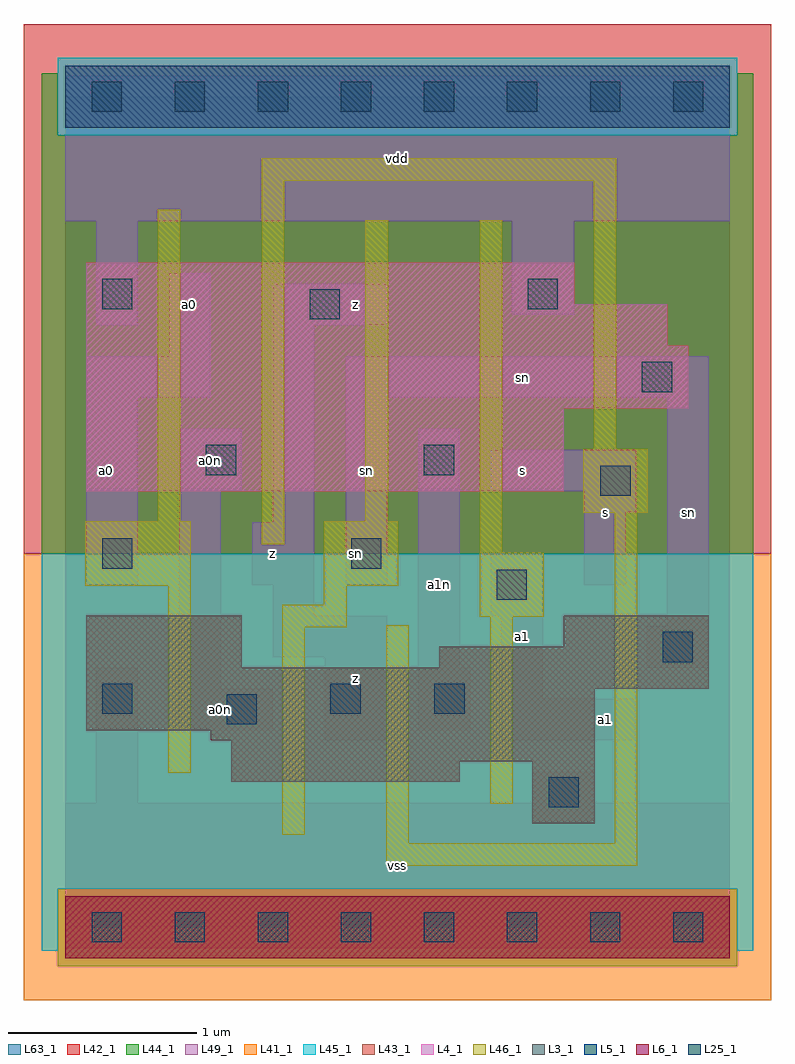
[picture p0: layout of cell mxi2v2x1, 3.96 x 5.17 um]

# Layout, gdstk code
import gdstk
lib = gdstk.Library(unit=1e-6, precision=1e-09)
def R(c, l, rs):  # rectangles x0, y0, x1, y1
    for r in rs: c.add(gdstk.rectangle(r[:2], r[2:], *l))
def A(c, l, x, y, w, h, nx, ny, dx, dy):  # array of equal rectangles
    R(c, l, [(x+i*dx, y+j*dy, x+i*dx+w, y+j*dy+h) for i in range(nx) for j in range(ny)])
L3_1 = (3, 1)
L4_1 = (4, 1)
L5_1 = (5, 1)
L6_1 = (6, 1)
L25_1 = (25, 1)
L41_1 = (41, 1)
L42_1 = (42, 1)
L43_1 = (43, 1)
L44_1 = (44, 1)
L45_1 = (45, 1)
L46_1 = (46, 1)
L49_1 = (49, 1)
L63_1 = (63, 1)

mxi2v2x1 = lib.new_cell('mxi2v2x1')
R(mxi2v2x1, L3_1, [(2.475,0.55,2.805,0.88), (0.88,0.77,2.09,0.88), (0.88,0.88,2.805,0.99), (0.77,0.99,2.805,1.045), (0.11,1.045,2.805,1.265), (0.11,1.265,3.41,1.375), (0.11,1.375,0.935,1.65), (1.98,1.375,3.41,1.485), (2.64,1.485,3.41,1.65)])
R(mxi2v2x1, L4_1, [(0.11,2.31,2.64,2.75), (0.11,2.75,3.3,3.08), (0.11,3.08,3.19,3.3), (0.11,3.3,2.695,3.52)])
R(mxi2v2x1, L5_1, [(0,4.235,3.52,4.565)])
R(mxi2v2x1, L6_1, [(0,-0.165,3.52,0.165)])
A(mxi2v2x1, L25_1, 0.14, -0.08, 0.16, 0.16, 8, 2, 0.44, 4.4)
R(mxi2v2x1, L25_1, [(2.56,0.635,2.72,0.795), (0.855,1.075,1.015,1.235), (0.195,1.13,0.355,1.29), (1.405,1.13,1.565,1.29), (1.955,1.13,2.115,1.29), (3.165,1.405,3.325,1.565), (2.285,1.735,2.445,1.895), (0.195,1.9,0.355,2.06), (1.515,1.9,1.675,2.06), (2.835,2.285,2.995,2.445), (0.745,2.395,0.905,2.555), (1.9,2.395,2.06,2.555), (3.055,2.835,3.215,2.995), (1.295,3.22,1.455,3.38), (0.195,3.275,0.355,3.435), (2.45,3.275,2.61,3.435)])
R(mxi2v2x1, L41_1, [(-0.22,-0.385,3.74,1.98)])
R(mxi2v2x1, L42_1, [(-0.22,1.98,3.74,4.785)])
R(mxi2v2x1, L43_1, [(0,-0.165,3.52,0.165), (2.475,0.55,2.805,0.88), (0.88,0.77,2.09,0.88), (0.88,0.88,2.805,0.99), (0.77,0.99,2.805,1.045), (0.11,1.045,2.805,1.265), (0.11,1.265,3.41,1.375), (0.11,1.375,0.935,1.65), (1.98,1.375,3.41,1.485), (2.64,1.485,3.41,1.65), (0.11,2.31,2.64,2.75), (0.11,2.75,3.3,3.08), (0.11,3.08,3.19,3.3), (0.11,3.3,2.695,3.52), (0,4.235,3.52,4.565)])
R(mxi2v2x1, L44_1, [(-0.04,-0.205,3.56,0.205), (-0.125,1.98,3.645,4.195), (-0.125,4.195,-0.04,4.525), (3.56,4.195,3.645,4.525)])
R(mxi2v2x1, L45_1, [(-0.125,-0.125,-0.04,0.205), (3.56,-0.125,3.645,0.205), (-0.125,0.205,3.645,1.98), (-0.04,4.195,3.56,4.605)])
R(mxi2v2x1, L46_1, [(1.7,0.325,3.03,0.445), (1.7,0.445,1.82,1.6), (2.91,0.445,3.03,2.195), (1.15,0.49,1.27,1.59), (2.25,0.655,2.37,1.645), (0.545,0.82,0.665,1.81), (1.15,1.59,1.49,1.71), (2.195,1.645,2.535,1.985), (1.37,1.71,1.49,1.81), (0.105,1.81,0.665,2.15), (1.37,1.81,1.765,2.15), (2.195,1.985,2.315,3.745), (1.04,2.03,1.16,3.955), (0.49,2.15,0.61,3.8), (1.59,2.15,1.71,3.745), (2.745,2.195,3.085,2.535), (2.8,2.535,2.92,3.955), (1.04,3.955,2.92,4.075)])
R(mxi2v2x1, L49_1, [(0,-0.11,3.52,0.66), (0.165,0.66,0.385,1.375), (2.475,0.66,2.805,0.825), (1.375,0.99,1.705,1.43), (2.31,0.99,3.025,1.21), (0.605,1.045,1.1,1.265), (1.87,1.045,2.145,1.375), (2.31,1.21,2.53,1.65), (0.605,1.265,0.825,2.31), (1.87,1.375,2.09,2.64), (3.08,1.375,3.41,1.595), (1.1,1.43,1.705,1.65), (3.19,1.595,3.41,2.805), (1.1,1.65,1.32,1.815), (2.255,1.65,2.53,1.98), (0.11,1.815,0.385,2.805), (0.99,1.815,1.32,2.145), (1.485,1.815,1.705,2.805), (2.75,1.815,2.97,2.2), (1.1,2.145,1.32,3.19), (2.75,2.2,3.025,2.31), (0.605,2.31,0.935,2.64), (2.255,2.31,3.025,2.53), (0.11,2.805,0.77,3.025), (1.485,2.805,3.41,3.025), (0.55,3.025,0.77,3.465), (0.165,3.19,0.385,3.74), (1.1,3.19,1.705,3.41), (2.365,3.245,2.695,3.74), (0,3.74,3.52,4.51)])
R(mxi2v2x1, L63_1, [(0,0,3.52,4.4)])
mxi2v2x1.add(gdstk.Label('sn', (1.54,1.98), layer=49, texttype=1))
mxi2v2x1.add(gdstk.Label('a0', (0.22,2.42), layer=49, texttype=1))
mxi2v2x1.add(gdstk.Label('a0n', (0.825,1.155), layer=49, texttype=1))
mxi2v2x1.add(gdstk.Label('z', (1.1,1.98), layer=49, texttype=1))
mxi2v2x1.add(gdstk.Label('a0n', (0.77,2.475), layer=49, texttype=1))
mxi2v2x1.add(gdstk.Label('a0', (0.66,3.3), layer=49, texttype=1))
mxi2v2x1.add(gdstk.Label('vss', (1.76,0.33), layer=49, texttype=1))
mxi2v2x1.add(gdstk.Label('z', (1.54,1.32), layer=49, texttype=1))
mxi2v2x1.add(gdstk.Label('sn', (1.595,2.42), layer=49, texttype=1))
mxi2v2x1.add(gdstk.Label('a1n', (1.98,1.815), layer=49, texttype=1))
mxi2v2x1.add(gdstk.Label('z', (1.54,3.3), layer=49, texttype=1))
mxi2v2x1.add(gdstk.Label('vdd', (1.76,4.07), layer=49, texttype=1))
mxi2v2x1.add(gdstk.Label('a1', (2.42,1.54), layer=49, texttype=1))
mxi2v2x1.add(gdstk.Label('s', (2.42,2.42), layer=49, texttype=1))
mxi2v2x1.add(gdstk.Label('a1', (2.86,1.1), layer=49, texttype=1))
mxi2v2x1.add(gdstk.Label('s', (2.86,2.2), layer=49, texttype=1))
mxi2v2x1.add(gdstk.Label('sn', (3.3,2.2), layer=49, texttype=1))
mxi2v2x1.add(gdstk.Label('sn', (2.42,2.915), layer=49, texttype=1))

lib.write_gds('mxi2v2x1.gds')
